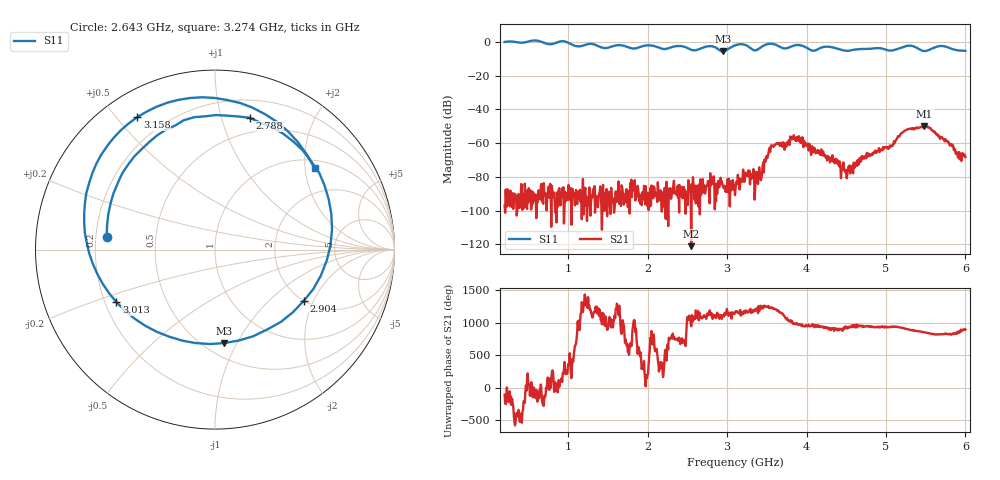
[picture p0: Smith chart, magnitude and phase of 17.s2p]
! NanoVNA-App by OneOfEleven et al v1.1.209 (+OD15)
! Date: 2024-07-30 15:18:18
! Start: 200MHz Stop: 6GHz Points: 801
! S-Parameter data: F S11 S21 S12 S22
# Hz S RI R 50
!  Frequency  S11_Real  S11_Imag  S21_Real  S21_Imag  S12_Real  S12_Imag  S22_Real  S22_Imag
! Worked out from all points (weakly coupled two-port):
!   801 points, 200 MHz to 6 GHz, reference 50 ohm
!   highest |S21| = -49.80 dB at 5.485 GHz (marker M1); lowest = -121.1 dB at 2.549 GHz (marker M2)
!   lowest |S11| = -5.6 dB at 2.948 GHz (marker M3), VSWR 3.20, Z = 31 - j44.5 ohm
!   |S11| at or under -10 dB: nowhere
!   S12 and S22 are empty: the file has one direction only
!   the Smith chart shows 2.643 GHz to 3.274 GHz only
!   S11 on the Smith chart (normalised r, x): 2.643 GHz: 0.25, +0.06; 2.788 GHz: 0.36, +1.23; 2.904 GHz: 2.01, -1.70; 3.013 GHz: 0.25, -0.24; 3.158 GHz: 0.10, +0.57; 3.274 GHz: 1.20, +2.24
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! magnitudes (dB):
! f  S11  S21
! 200 MHz  0.0  -96.9
! 1.171 GHz  -2.3  -105.1
! 2.136 GHz  -3.3  -89.0
! 2.549 GHz  -4.6  -121.1
! 2.643 GHz  -4.3  -97.7
! 2.788 GHz  -2.4  -77.8
! 2.904 GHz  -4.9  -85.8
! 2.948 GHz  -5.6  -85.4
! 3.013 GHz  -4.1  -89.1
! 3.1 GHz  -2.0  -90.8
! 3.158 GHz  -1.4  -87.4
! 3.274 GHz  -2.9  -79.6
! 3.412 GHz  -3.6  -78.3
! 3.55 GHz  -1.0  -62.4
! 3.629 GHz  -2.0  -60.4
! 3.854 GHz  -1.9  -57.2
! 4.072 GHz  -5.1  -61.8
! 4.506 GHz  -5.3  -80.8
! 5.036 GHz  -5.0  -63.2
! 5.246 GHz  -2.5  -52.4
! 5.485 GHz  -5.4  -49.8
! 6 GHz  -5.2  -68.2
